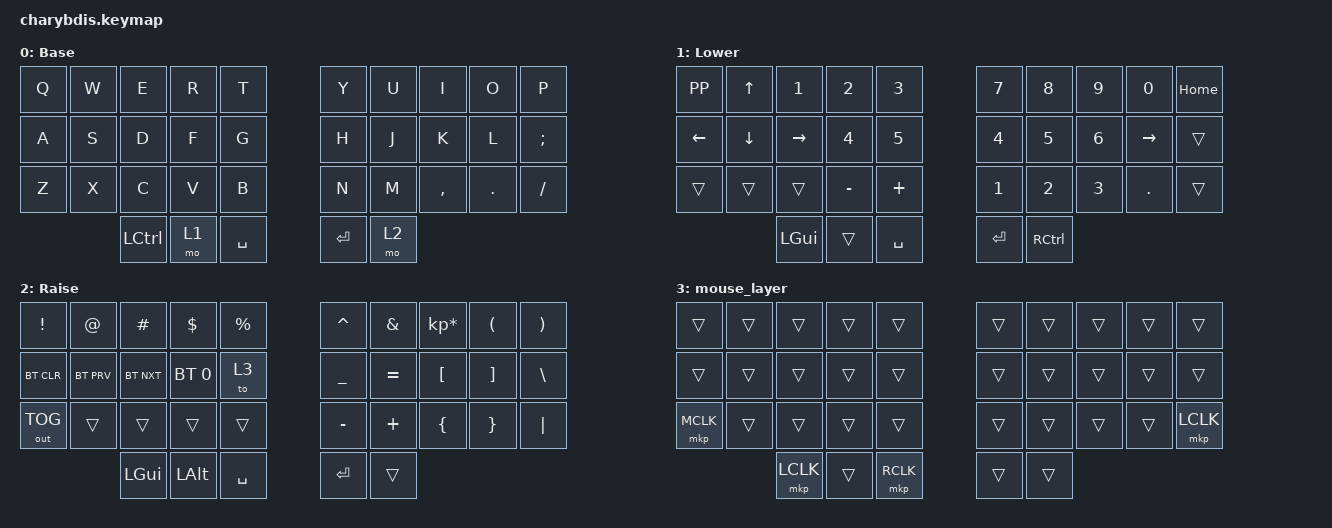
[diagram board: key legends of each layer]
#include <behaviors.dtsi>
#include <dt-bindings/zmk/keys.h>
#include <dt-bindings/zmk/bt.h>
#include <dt-bindings/zmk/mouse.h>
#include <dt-bindings/zmk/outputs.h>

/ {

  keymap {
    compatible = "zmk,keymap";

        Base {
            label = "Base";
            bindings = <
    &kp Q   &kp W   &kp E       &kp R   &kp T                 &kp Y   &kp U      &kp I    &kp O     &kp P
    &kp A   &kp S   &kp D       &kp F   &kp G                 &kp H   &kp J      &kp K    &kp L  &kp SEMI
    &kp Z   &kp X   &kp C       &kp V   &kp B                 &kp N   &kp M  &kp COMMA  &kp DOT  &kp FSLH
                    &kp LCTRL   &mo 1   &kp SPACE           &kp RET   &mo 2
            >;
            trackball-bindings = <&tmv_coarse>;
        };

        Lower {
            label = "Lower";
            bindings = <
    &kp K_PP    &kp UP      &kp N1      &kp N2      &kp N3               &kp N7     &kp N8    &kp N9     &kp N0  &kp HOME
    &kp LEFT    &kp DOWN    &kp RIGHT   &kp N4      &kp N5               &kp N4     &kp N5    &kp N6  &kp RIGHT    &trans
    &trans      &trans      &trans      &kp MINUS   &kp PLUS             &kp N1     &kp N2    &kp N3    &kp DOT    &trans
                            &kp LGUI    &trans      &kp SPACE           &kp RET  &kp RCTRL
            >;
            trackball-bindings = <&tmv_fine>;
        };

        Raise {
            label = "Raise";
            bindings = <
    &kp EXCL        &kp AT      &kp HASH    &kp DLLR        &kp PRCNT         &kp CARET   &kp AMPS  &kp KP_MULTIPLY  &kp LPAR  &kp RPAR
    &bt BT_CLR      &bt BT_PRV  &bt BT_NXT  &bt BT_SEL 0    &to 3             &kp UNDER  &kp EQUAL         &kp LBKT  &kp RBKT  &kp BSLH
    &out OUT_TOG    &trans      &trans      &trans          &trans            &kp MINUS   &kp PLUS         &kp LBRC  &kp RBRC  &kp PIPE
                        &kp LGUI    &kp LEFT_ALT    &kp SPACE           &kp RET     &trans
            >;
            trackball-bindings = <&tsl_fine>;
        };

        mouse_layer {
            bindings = <
                &trans           &trans         &trans          &trans          &trans          &trans          &trans          &trans          &trans          &trans
                &trans           &trans         &trans          &trans          &trans          &trans          &trans          &trans          &trans          &trans
                &mkp MCLK        &trans         &trans          &trans          &trans          &trans          &trans          &trans          &trans          &mkp LCLK
                                                &mkp LCLK       &trans          &mkp RCLK       &trans          &trans
            >;
        };
    };
};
